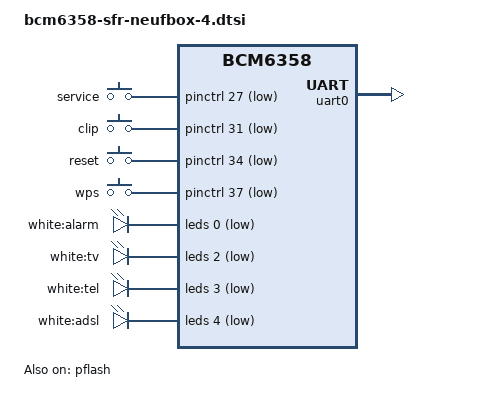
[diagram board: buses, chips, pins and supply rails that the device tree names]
#include "bcm6358.dtsi"

#include <dt-bindings/input/input.h>

/ {
	chosen {
		bootargs = "rootfstype=squashfs,jffs2 noinitrd console=ttyS0,115200";
		stdout-path = "serial0:115200n8";
	};

	keys {
		compatible = "gpio-keys-polled";
		#address-cells = <1>;
		#size-cells = <0>;
		poll-interval = <20>;

		service {
			label = "service";
			gpios = <&pinctrl 27 1>;
			linux,code = <BTN_0>;
			debounce-interval = <60>;
		};

		clip {
			label = "clip";
			gpios = <&pinctrl 31 1>;
			linux,code = <BTN_1>;
			debounce-interval = <60>;
		};

		reset {
			label = "reset";
			gpios = <&pinctrl 34 1>;
			linux,code = <KEY_RESTART>;
			debounce-interval = <60>;
		};

		wps {
			label = "wps";
			gpios = <&pinctrl 37 1>;
			linux,code = <KEY_WPS_BUTTON>;
			debounce-interval = <60>;
		};
	};
};

&leds {
	status = "okay";

	pinctrl-names = "default";
	pinctrl-0 = <&pinctrl_serial_led>;

	led@0 {
		reg = <0>;
		active-low;
		label = "white:alarm";
	};

	led@2 {
		reg = <2>;
		active-low;
		label = "white:tv";
	};

	led@3 {
		reg = <3>;
		active-low;
		label = "white:tel";
	};

	led@4 {
		reg = <4>;
		active-low;
		label = "white:adsl";
	};
};

&pflash {
	status = "okay";

	partitions {
		compatible = "brcm,bcm963xx-cfe-nor-partitions";
	};
};

&uart0 {
	status = "okay";
};
